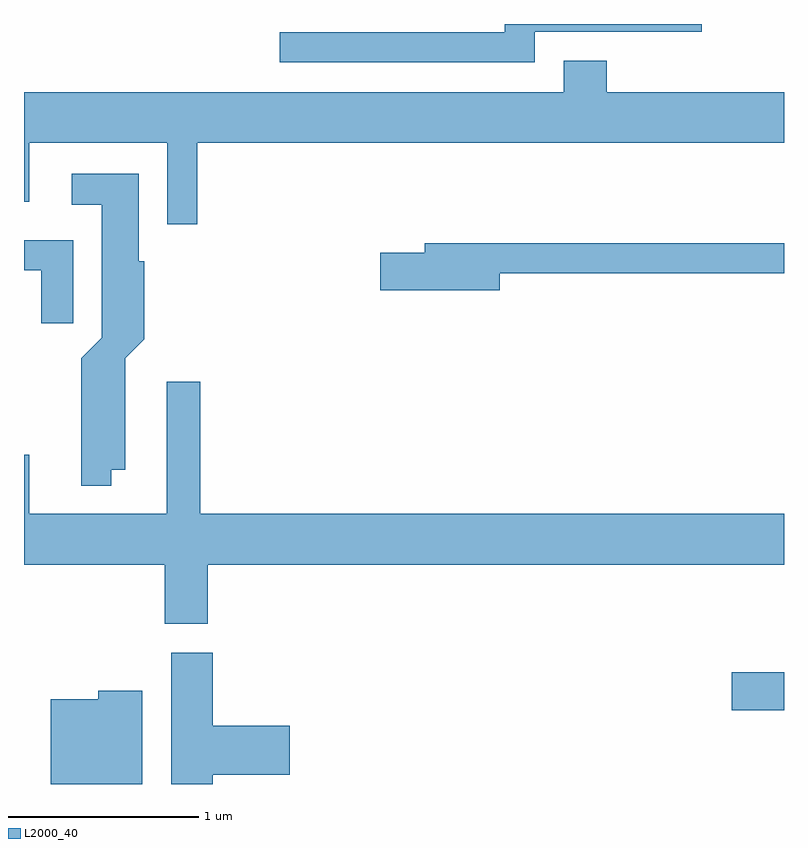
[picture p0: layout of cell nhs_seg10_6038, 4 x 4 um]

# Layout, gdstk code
import gdstk
lib = gdstk.Library(unit=1e-6, precision=1e-09)
def R(c, l, rs):  # rectangles x0, y0, x1, y1
    for r in rs: c.add(gdstk.rectangle(r[:2], r[2:], *l))
def P(c, l, *ps):  # polygons
    for p in ps: c.add(gdstk.Polygon(p, *l))
L2000_40 = (2000, 40)

nhs_seg10_6038 = lib.new_cell('nhs_seg10_6038')
R(nhs_seg10_6038, L2000_40, [(367.336,2130.911,367.611,2131.109)])
P(nhs_seg10_6038, L2000_40, [(366.299,2134.481),(367.178,2134.481),(367.178,2134.522),(366.141,2134.522),(366.141,2134.479),(364.958,2134.479),(364.958,2134.321),(366.299,2134.321)],
  [(364.524,2133.896),(367.611,2133.896),(367.611,2134.164),(366.679,2134.164),(366.679,2134.329),(366.451,2134.329),(366.451,2134.164),(363.611,2134.164),(363.611,2133.586),(363.639,2133.586),(363.639,2133.896),(364.366,2133.896),(364.366,2133.468),(364.524,2133.468)],
  [(364.069,2132.176),(364.144,2132.176),(364.144,2132.764),(364.244,2132.864),(364.244,2133.274),(364.214,2133.274),(364.214,2133.734),(363.863,2133.734),(363.863,2133.571),(364.021,2133.571),(364.021,2132.872),(363.911,2132.762),(363.911,2132.093),(364.069,2132.093)],
  [(363.869,2133.384),(363.611,2133.384),(363.611,2133.226),(363.701,2133.226),(363.701,2132.948),(363.869,2132.948)],
  [(366.114,2133.211),(367.611,2133.211),(367.611,2133.369),(365.721,2133.369),(365.721,2133.319),(365.486,2133.319),(365.486,2133.121),(366.114,2133.121)],
  [(364.579,2131.676),(367.611,2131.676),(367.611,2131.944),(364.539,2131.944),(364.539,2132.639),(364.361,2132.639),(364.361,2131.944),(363.639,2131.944),(363.639,2132.254),(363.611,2132.254),(363.611,2131.676),(364.351,2131.676),(364.351,2131.366),(364.579,2131.366)],
  [(364.604,2130.571),(365.009,2130.571),(365.009,2130.829),(364.604,2130.829),(364.604,2131.214),(364.386,2131.214),(364.386,2130.522),(364.604,2130.522)],
  [(364.234,2131.014),(364.001,2131.014),(364.001,2130.969),(363.751,2130.969),(363.751,2130.522),(364.234,2130.522)])

lib.write_gds('nhs_seg10_6038.gds')
